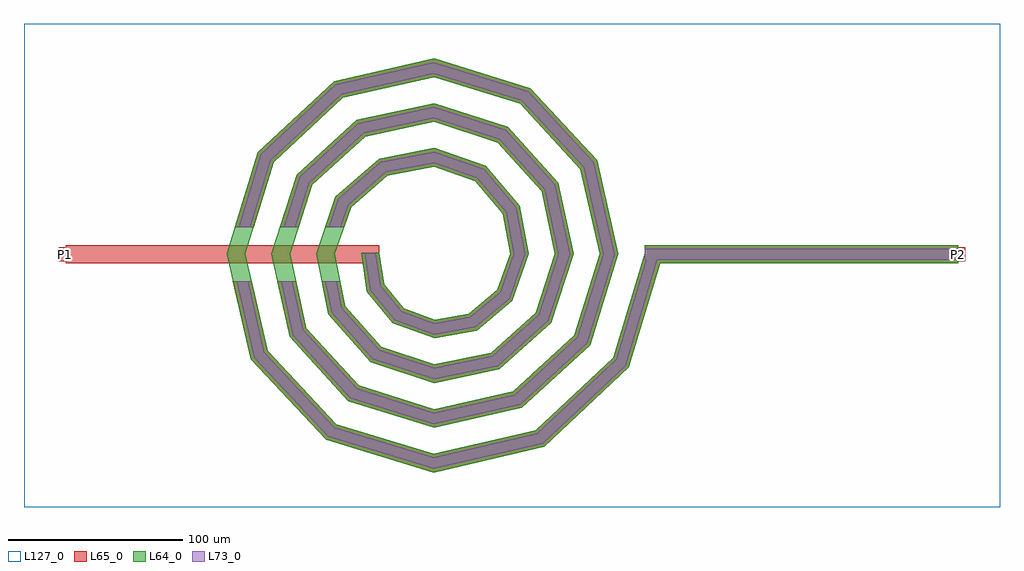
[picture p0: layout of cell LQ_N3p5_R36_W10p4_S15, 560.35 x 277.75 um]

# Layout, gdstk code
import gdstk
lib = gdstk.Library(unit=1e-6, precision=1e-09)
def R(c, l, rs):  # rectangles x0, y0, x1, y1
    for r in rs: c.add(gdstk.rectangle(r[:2], r[2:], *l))
def P(c, l, *ps):  # polygons
    for p in ps: c.add(gdstk.Polygon(p, *l))
L64_0 = (64, 0)
L65_0 = (65, 0)
L73_0 = (73, 0)
L127_0 = (127, 0)

lq_n3p5_r36_w10p4_s15 = lib.new_cell('LQ_N3p5_R36_W10p4_S15')
R(lq_n3p5_r36_w10p4_s15, L64_0, [(121.138,-5.2,301.138,5.2)])
P(lq_n3p5_r36_w10p4_s15, L64_0, [(-28.471,-17.08),(-17.212,-30.865),(0.501,-37.474),(20.22,-34.068),(36.387,-20.482),(43.892,0.436),(39.656,23.378),(23.739,41.919),(0.386,50.312),(-26.548,45.24),(-47.458,26.986),(-56.733,0.346),(-50.819,-29.726),(-30.227,-53.001),(0.313,-63.154),(32.911,-56.395),(58.549,-33.462),(69.576,0.287),(61.969,36.1),(36.694,64.098),(0.264,75.999),(-39.292,67.542),(-69.65,39.923),(-82.421,0.245),(-73.113,-42.488),(-43.149,-75.203),(0.228,-88.843),(45.685,-78.683),(80.758,-46.373),(95.266,0.214),(84.252,48.885),(49.596,86.313),(0.201,101.689),(-52.085,89.821),(-91.87,52.818),(-108.111,0.189),(-95.388,-55.287),(-56.039,-97.427),(0.179,-114.534),(58.49,-100.956),(102.984,-59.258),(121.361,1.505),(131.316,-1.505),(112.131,-64.939),(63.566,-110.452),(0.179,-125.296),(-61.735,-106.564),(-104.894,-60.346),(-118.872,0.189),(-100.996,58.533),(-57.125,99.336),(0.201,112.449),(55.331,95.427),(93.78,53.902),(106.026,0.214),(89.857,-52.131),(50.678,-88.224),(0.228,-99.602),(-48.932,-84.287),(-82.669,-47.453),(-93.178,0.245),(-78.715,45.736),(-44.225,77.114),(0.264,86.754),(42.541,73.141),(71.562,40.994),(80.33,0.287),(67.566,-39.35),(37.76,-66.011),(0.313,-73.906),(-36.162,-61.988),(-60.462,-34.522),(-67.481,0.346),(-56.406,32.98),(-31.277,54.916),(0.386,61.056),(29.804,50.82),(49.374,28.024),(54.629,0.436),(45.227,-26.638),(24.759,-43.838),(0.501,-48.201),(-23.485,-39.624),(-38.309,-21.476),(-41.552,0.806),(-31.277,0.806)])
R(lq_n3p5_r36_w10p4_s15, L65_0, [(-211.215,-5.2,-31.215,5.2), (121.138,-5.2,301.138,5.2), (-215.215,-4,-207.215,4), (297.138,-4,305.138,4)])
P(lq_n3p5_r36_w10p4_s15, L65_0, [(-95.388,-55.287),(-56.039,-97.427),(0.179,-114.534),(58.49,-100.956),(102.984,-59.258),(121.361,1.505),(131.316,-1.505),(112.132,-64.939),(63.566,-110.452),(0.179,-125.296),(-61.736,-106.564),(-104.894,-60.346),(-115.227,-15.6),(-104.553,-15.6)],
  [(-73.113,-42.488),(-43.149,-75.203),(0.228,-88.843),(45.685,-78.683),(80.758,-46.374),(95.266,0.214),(84.252,48.885),(49.596,86.313),(0.201,101.689),(-52.085,89.821),(-91.87,52.818),(-103.273,15.6),(-114.151,15.6),(-100.996,58.533),(-57.125,99.337),(0.201,112.449),(55.331,95.427),(93.78,53.902),(106.026,0.214),(89.857,-52.131),(50.678,-88.224),(0.228,-99.602),(-48.933,-84.287),(-82.669,-47.453),(-89.687,-15.6),(-79.038,-15.6)],
  [(-50.819,-29.726),(-30.227,-53.001),(0.314,-63.155),(32.911,-56.395),(58.549,-33.462),(69.576,0.287),(61.969,36.1),(36.694,64.098),(0.264,75.999),(-39.293,67.542),(-69.65,39.923),(-77.383,15.6),(-88.296,15.6),(-78.715,45.736),(-44.225,77.115),(0.264,86.754),(42.541,73.141),(71.562,40.994),(80.33,0.287),(67.566,-39.35),(37.76,-66.011),(0.314,-73.906),(-36.162,-61.988),(-60.462,-34.522),(-64.271,-15.6),(-53.662,-15.6)],
  [(-17.212,-30.865),(0.5,-37.474),(20.22,-34.068),(36.387,-20.482),(43.892,0.436),(39.656,23.378),(23.739,41.919),(0.386,50.312),(-26.548,45.24),(-47.458,26.986),(-51.322,15.6),(-62.304,15.6),(-56.406,32.98),(-31.277,54.916),(0.386,61.056),(29.804,50.82),(49.374,28.024),(54.629,0.436),(45.227,-26.638),(24.759,-43.838),(0.5,-48.201),(-23.485,-39.624),(-38.309,-21.476),(-41.552,0.806),(-31.277,0.806),(-28.471,-17.08)])
R(lq_n3p5_r36_w10p4_s15, L73_0, [(121.138,-3.2,301.138,3.2)])
P(lq_n3p5_r36_w10p4_s15, L73_0, [(-97.216,-56.26),(-57.134,-99.184),(0.11,-116.604),(59.466,-102.782),(104.743,-60.351),(123.275,0.926),(129.401,0.926),(110.372,-63.847),(62.59,-108.626),(0.11,-123.226),(-60.64,-104.807),(-103.066,-59.373),(-113.174,-15.6),(-106.605,-15.6)],
  [(-74.951,-43.443),(-44.261,-76.95),(0.14,-90.912),(46.646,-80.518),(82.508,-47.481),(97.335,0.131),(86.084,49.85),(50.699,88.066),(0.124,103.758),(-53.054,91.651),(-93.625,53.917),(-105.365,15.6),(-112.059,15.6),(-99.241,57.434),(-56.156,97.507),(0.124,110.38),(54.229,93.674),(91.948,52.937),(103.956,0.131),(88.107,-51.024),(49.718,-86.389),(0.14,-97.533),(-47.82,-82.54),(-80.831,-46.498),(-87.639,-15.6),(-81.085,-15.6)],
  [(-52.673,-30.649),(-31.368,-54.73),(0.193,-65.222),(33.843,-58.244),(60.283,-34.595),(71.644,0.176),(63.814,37.041),(37.819,65.837),(0.163,78.067),(-40.241,69.383),(-71.393,41.041),(-79.482,15.6),(-86.198,15.6),(-76.972,44.618),(-43.276,75.274),(0.163,84.686),(41.417,71.402),(69.717,40.053),(78.262,0.176),(65.832,-38.218),(36.828,-64.162),(0.193,-71.838),(-35.021,-60.26),(-58.608,-33.6),(-62.231,-15.6),(-55.703,-15.6)],
  [(-18.418,-32.549),(0.308,-39.537),(21.093,-35.947),(38.087,-21.666),(45.957,0.268),(41.525,24.271),(24.905,43.631),(0.237,52.378),(-27.457,47.1),(-49.179,28.139),(-53.434,15.6),(-60.192,15.6),(-54.686,31.827),(-30.368,53.055),(0.237,58.99),(28.638,49.108),(47.505,27.131),(52.564,0.268),(43.527,-25.454),(23.886,-41.959),(0.308,-46.138),(-22.279,-37.94),(-36.417,-20.631),(-39.576,0.496),(-33.253,0.496),(-30.363,-17.925)])
R(lq_n3p5_r36_w10p4_s15, L127_0, [(-235.215,-145.296,325.138,132.449)])
lq_n3p5_r36_w10p4_s15.add(gdstk.Label('P2', (301.138,0), layer=65, texttype=0))
lq_n3p5_r36_w10p4_s15.add(gdstk.Label('P1', (-211.215,0), layer=65, texttype=0))
lq_n3p5_r36_w10p4_s15.add(gdstk.Label('P2', (305.138,0), layer=145, texttype=0))
lq_n3p5_r36_w10p4_s15.add(gdstk.Label('P1', (-215.215,0), layer=145, texttype=0))

lib.write_gds('LQ_N3p5_R36_W10p4_S15.gds')
